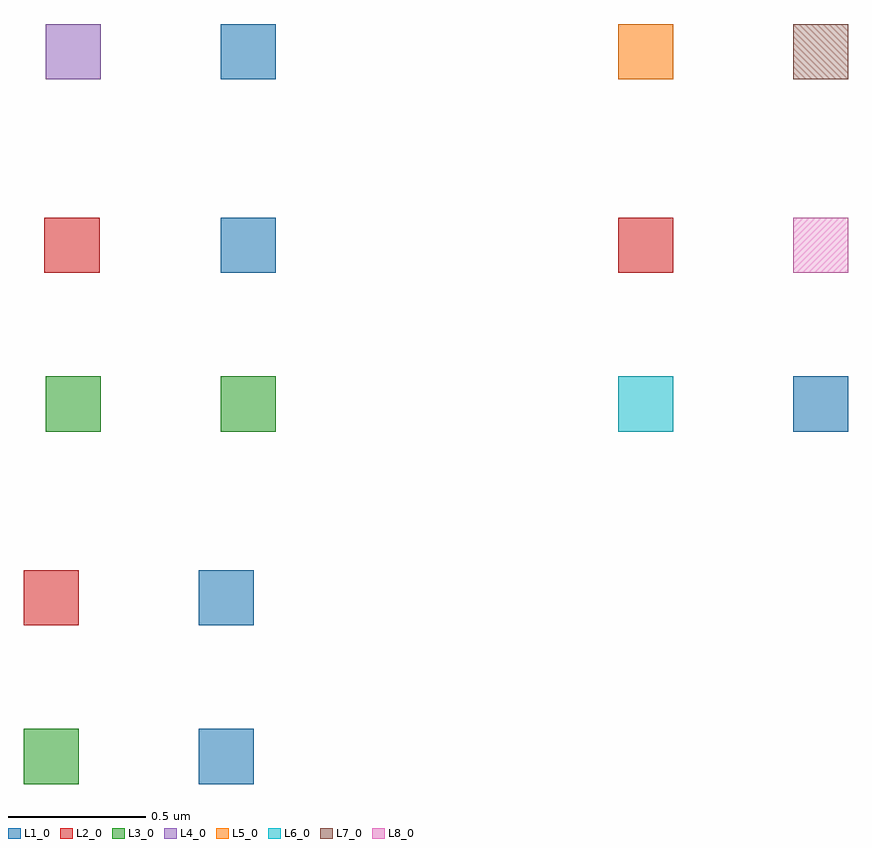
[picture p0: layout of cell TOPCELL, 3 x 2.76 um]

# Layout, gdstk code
import gdstk
lib = gdstk.Library(unit=1e-6, precision=1e-09)
def R(c, l, rs):  # rectangles x0, y0, x1, y1
    for r in rs: c.add(gdstk.rectangle(r[:2], r[2:], *l))
L1_0 = (1, 0)
L2_0 = (2, 0)
L3_0 = (3, 0)
L4_0 = (4, 0)
L5_0 = (5, 0)
L6_0 = (6, 0)
L7_0 = (7, 0)
L8_0 = (8, 0)

topcell = lib.new_cell('TOPCELL')
R(topcell, L1_0, [(134.1,269.052,134.3,269.252), (134.1,269.628,134.3,269.828), (136.26,270.332,136.46,270.532), (134.18,270.908,134.38,271.108), (134.18,271.612,134.38,271.812)])
R(topcell, L2_0, [(133.464,269.628,133.664,269.828), (133.54,270.908,133.74,271.108), (135.624,270.908,135.824,271.108)])
R(topcell, L3_0, [(133.464,269.052,133.664,269.252), (133.544,270.332,133.744,270.532), (134.18,270.332,134.38,270.532)])
R(topcell, L4_0, [(133.544,271.612,133.744,271.812)])
R(topcell, L5_0, [(135.624,271.612,135.824,271.812)])
R(topcell, L6_0, [(135.624,270.332,135.824,270.532)])
R(topcell, L7_0, [(136.26,271.612,136.46,271.812)])
R(topcell, L8_0, [(136.26,270.908,136.46,271.108)])

lib.write_gds('TOPCELL.gds')
